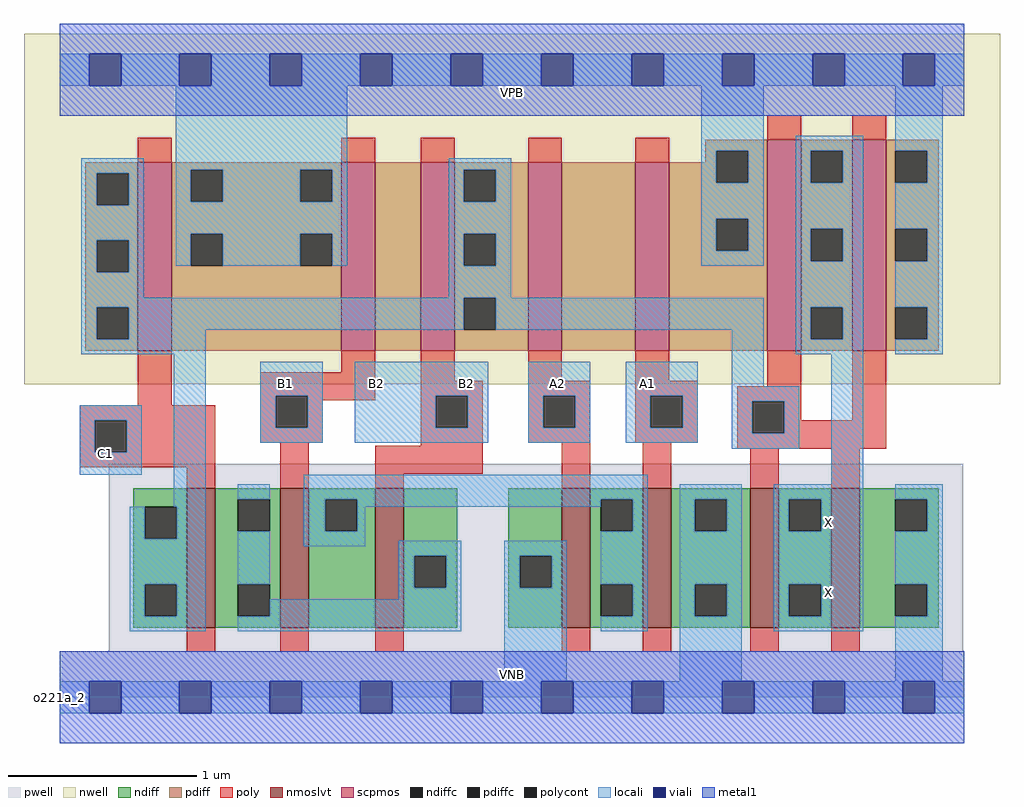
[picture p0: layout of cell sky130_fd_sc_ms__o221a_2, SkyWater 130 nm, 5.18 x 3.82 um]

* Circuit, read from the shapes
.subckt sky130_fd_sc_ms__o221a_2 A1 A2 B1 B2 C1 VGND VNB VPB VPWR X
XM1 n1 C1 n2 VNB sky130_fd_pr__nfet_01v8_lvt w=0.74 l=0.15
XM2 n3 B1 n1 VNB sky130_fd_pr__nfet_01v8_lvt w=0.74 l=0.15
XM3 n1 B2 n3 VNB sky130_fd_pr__nfet_01v8_lvt w=0.74 l=0.15
XM4 n3 A2 VGND VNB sky130_fd_pr__nfet_01v8_lvt w=0.74 l=0.15
XM5 VGND A1 n3 VNB sky130_fd_pr__nfet_01v8_lvt w=0.74 l=0.15
XM6 X n2 VGND VNB sky130_fd_pr__nfet_01v8_lvt w=0.74 l=0.15 m=2
XM7 VPWR C1 n2 VPB sky130_fd_pr__pfet_01v8 w=1 l=0.18
XM8 n4 B1 VPWR VPB sky130_fd_pr__pfet_01v8 w=1 l=0.18
XM9 n2 B2 n4 VPB sky130_fd_pr__pfet_01v8 w=1 l=0.18
XM10 n5 A2 n2 VPB sky130_fd_pr__pfet_01v8 w=1 l=0.18
XM11 VPWR A1 n5 VPB sky130_fd_pr__pfet_01v8 w=1 l=0.18
XM12 X n2 VPWR VPB sky130_fd_pr__pfet_01v8 w=1.12 l=0.18 m=2
.ends

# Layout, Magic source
magic
tech sky130A
magscale 1 2
<< nwell >>
rect -38 332 998 704
<< pwell >>
rect 52 49 959 248
rect 0 0 960 49
<< scpmos >>
rect 83 368 119 568
rect 299 368 335 568
rect 383 368 419 568
rect 497 368 533 568
rect 611 368 647 568
rect 751 368 787 592
rect 841 368 877 592
<< nmoslvt >>
rect 135 74 165 222
rect 234 74 264 222
rect 335 74 365 222
rect 533 74 563 222
rect 619 74 649 222
rect 733 74 763 222
rect 819 74 849 222
<< ndiff >>
rect 78 202 135 222
rect 78 168 90 202
rect 124 168 135 202
rect 78 120 135 168
rect 78 86 90 120
rect 124 86 135 120
rect 78 74 135 86
rect 165 210 234 222
rect 165 176 189 210
rect 223 176 234 210
rect 165 120 234 176
rect 165 86 189 120
rect 223 86 234 120
rect 165 74 234 86
rect 264 210 335 222
rect 264 176 282 210
rect 316 176 335 210
rect 264 74 335 176
rect 365 150 422 222
rect 365 116 376 150
rect 410 116 422 150
rect 365 74 422 116
rect 476 150 533 222
rect 476 116 488 150
rect 522 116 533 150
rect 476 74 533 116
rect 563 210 619 222
rect 563 176 574 210
rect 608 176 619 210
rect 563 120 619 176
rect 563 86 574 120
rect 608 86 619 120
rect 563 74 619 86
rect 649 210 733 222
rect 649 176 674 210
rect 708 176 733 210
rect 649 120 733 176
rect 649 86 674 120
rect 708 86 733 120
rect 649 74 733 86
rect 763 210 819 222
rect 763 176 774 210
rect 808 176 819 210
rect 763 120 819 176
rect 763 86 774 120
rect 808 86 819 120
rect 763 74 819 86
rect 849 210 933 222
rect 849 176 887 210
rect 921 176 933 210
rect 849 120 933 176
rect 849 86 887 120
rect 921 86 933 120
rect 849 74 933 86
<< pdiff >>
rect 685 580 751 592
rect 685 568 697 580
rect 27 556 83 568
rect 27 522 39 556
rect 73 522 83 556
rect 27 485 83 522
rect 27 451 39 485
rect 73 451 83 485
rect 27 414 83 451
rect 27 380 39 414
rect 73 380 83 414
rect 27 368 83 380
rect 119 560 299 568
rect 119 526 139 560
rect 173 526 255 560
rect 289 526 299 560
rect 119 492 299 526
rect 119 458 139 492
rect 173 458 255 492
rect 289 458 299 492
rect 119 368 299 458
rect 335 368 383 568
rect 419 560 497 568
rect 419 526 429 560
rect 463 526 497 560
rect 419 492 497 526
rect 419 458 429 492
rect 463 458 497 492
rect 419 424 497 458
rect 419 390 429 424
rect 463 390 497 424
rect 419 368 497 390
rect 533 368 611 568
rect 647 546 697 568
rect 731 546 751 580
rect 647 508 751 546
rect 647 474 697 508
rect 731 474 751 508
rect 647 368 751 474
rect 787 580 841 592
rect 787 546 797 580
rect 831 546 841 580
rect 787 497 841 546
rect 787 463 797 497
rect 831 463 841 497
rect 787 414 841 463
rect 787 380 797 414
rect 831 380 841 414
rect 787 368 841 380
rect 877 580 933 592
rect 877 546 887 580
rect 921 546 933 580
rect 877 497 933 546
rect 877 463 887 497
rect 921 463 933 497
rect 877 414 933 463
rect 877 380 887 414
rect 921 380 933 414
rect 877 368 933 380
<< ndiffc >>
rect 90 168 124 202
rect 90 86 124 120
rect 189 176 223 210
rect 189 86 223 120
rect 282 176 316 210
rect 376 116 410 150
rect 488 116 522 150
rect 574 176 608 210
rect 574 86 608 120
rect 674 176 708 210
rect 674 86 708 120
rect 774 176 808 210
rect 774 86 808 120
rect 887 176 921 210
rect 887 86 921 120
<< pdiffc >>
rect 39 522 73 556
rect 39 451 73 485
rect 39 380 73 414
rect 139 526 173 560
rect 255 526 289 560
rect 139 458 173 492
rect 255 458 289 492
rect 429 526 463 560
rect 429 458 463 492
rect 429 390 463 424
rect 697 546 731 580
rect 697 474 731 508
rect 797 546 831 580
rect 797 463 831 497
rect 797 380 831 414
rect 887 546 921 580
rect 887 463 921 497
rect 887 380 921 414
<< poly >>
rect 83 568 119 594
rect 299 568 335 594
rect 383 568 419 594
rect 497 568 533 594
rect 611 568 647 594
rect 751 592 787 618
rect 841 592 877 618
rect 83 310 119 368
rect 299 345 335 368
rect 213 320 335 345
rect 21 294 165 310
rect 21 260 37 294
rect 71 260 165 294
rect 213 286 229 320
rect 263 315 335 320
rect 383 336 419 368
rect 497 336 533 368
rect 611 336 647 368
rect 383 320 449 336
rect 263 286 279 315
rect 213 270 279 286
rect 383 286 399 320
rect 433 286 449 320
rect 21 244 165 260
rect 135 222 165 244
rect 234 222 264 270
rect 383 267 449 286
rect 497 320 563 336
rect 497 286 513 320
rect 547 286 563 320
rect 497 270 563 286
rect 611 320 677 336
rect 751 330 787 368
rect 611 286 627 320
rect 661 286 677 320
rect 611 270 677 286
rect 719 314 787 330
rect 719 280 735 314
rect 769 294 787 314
rect 841 294 877 368
rect 769 280 877 294
rect 335 237 449 267
rect 335 222 365 237
rect 533 222 563 270
rect 619 222 649 270
rect 719 264 877 280
rect 733 222 763 264
rect 819 222 849 264
rect 135 48 165 74
rect 234 48 264 74
rect 335 48 365 74
rect 533 48 563 74
rect 619 48 649 74
rect 733 48 763 74
rect 819 48 849 74
<< polycont >>
rect 37 260 71 294
rect 229 286 263 320
rect 399 286 433 320
rect 513 286 547 320
rect 627 286 661 320
rect 735 280 769 314
<< locali >>
rect 0 649 31 683
rect 65 649 127 683
rect 161 649 223 683
rect 257 649 319 683
rect 353 649 415 683
rect 449 649 511 683
rect 545 649 607 683
rect 641 649 703 683
rect 737 649 799 683
rect 833 649 895 683
rect 929 649 960 683
rect 23 556 89 572
rect 23 522 39 556
rect 73 522 89 556
rect 23 485 89 522
rect 23 451 39 485
rect 73 451 89 485
rect 123 560 305 649
rect 681 580 747 649
rect 123 526 139 560
rect 173 526 255 560
rect 289 526 305 560
rect 123 492 305 526
rect 123 458 139 492
rect 173 458 255 492
rect 289 458 305 492
rect 413 560 479 572
rect 413 526 429 560
rect 463 526 479 560
rect 413 492 479 526
rect 413 458 429 492
rect 463 458 479 492
rect 681 546 697 580
rect 731 546 747 580
rect 681 508 747 546
rect 681 474 697 508
rect 731 474 747 508
rect 681 458 747 474
rect 781 580 853 596
rect 781 546 797 580
rect 831 546 853 580
rect 781 497 853 546
rect 781 463 797 497
rect 831 463 853 497
rect 23 424 89 451
rect 413 424 479 458
rect 23 414 429 424
rect 23 380 39 414
rect 73 390 429 414
rect 463 390 747 424
rect 73 380 155 390
rect 23 364 155 380
rect 21 294 87 310
rect 21 260 37 294
rect 71 260 87 294
rect 21 236 87 260
rect 121 202 155 364
rect 213 320 279 356
rect 213 286 229 320
rect 263 286 279 320
rect 213 270 279 286
rect 313 320 455 356
rect 313 286 399 320
rect 433 286 455 320
rect 313 270 455 286
rect 497 320 563 356
rect 497 286 513 320
rect 547 286 563 320
rect 497 270 563 286
rect 601 320 677 356
rect 601 286 627 320
rect 661 286 677 320
rect 601 270 677 286
rect 713 330 747 390
rect 781 414 853 463
rect 781 380 797 414
rect 831 380 853 414
rect 781 364 853 380
rect 887 580 937 649
rect 921 546 937 580
rect 887 497 937 546
rect 921 463 937 497
rect 887 414 937 463
rect 921 380 937 414
rect 887 364 937 380
rect 713 314 785 330
rect 713 280 735 314
rect 769 280 785 314
rect 713 264 785 280
rect 74 168 90 202
rect 124 168 155 202
rect 74 120 155 168
rect 74 86 90 120
rect 124 86 155 120
rect 74 70 155 86
rect 189 210 223 226
rect 189 120 223 176
rect 259 210 624 236
rect 819 226 853 364
rect 259 176 282 210
rect 316 202 574 210
rect 316 176 324 202
rect 259 160 324 176
rect 608 176 624 210
rect 360 150 426 166
rect 360 116 376 150
rect 410 116 426 150
rect 360 104 426 116
rect 223 86 426 104
rect 189 70 426 86
rect 472 150 538 166
rect 472 116 488 150
rect 522 116 538 150
rect 472 17 538 116
rect 574 120 624 176
rect 608 86 624 120
rect 574 70 624 86
rect 658 210 724 226
rect 658 176 674 210
rect 708 176 724 210
rect 658 120 724 176
rect 658 86 674 120
rect 708 86 724 120
rect 658 17 724 86
rect 758 210 853 226
rect 758 176 774 210
rect 808 176 853 210
rect 758 120 853 176
rect 758 86 774 120
rect 808 86 853 120
rect 758 70 853 86
rect 887 210 937 226
rect 921 176 937 210
rect 887 120 937 176
rect 921 86 937 120
rect 887 17 937 86
rect 0 -17 31 17
rect 65 -17 127 17
rect 161 -17 223 17
rect 257 -17 319 17
rect 353 -17 415 17
rect 449 -17 511 17
rect 545 -17 607 17
rect 641 -17 703 17
rect 737 -17 799 17
rect 833 -17 895 17
rect 929 -17 960 17
<< viali >>
rect 31 649 65 683
rect 127 649 161 683
rect 223 649 257 683
rect 319 649 353 683
rect 415 649 449 683
rect 511 649 545 683
rect 607 649 641 683
rect 703 649 737 683
rect 799 649 833 683
rect 895 649 929 683
rect 31 -17 65 17
rect 127 -17 161 17
rect 223 -17 257 17
rect 319 -17 353 17
rect 415 -17 449 17
rect 511 -17 545 17
rect 607 -17 641 17
rect 703 -17 737 17
rect 799 -17 833 17
rect 895 -17 929 17
<< metal1 >>
rect 0 683 960 715
rect 0 649 31 683
rect 65 649 127 683
rect 161 649 223 683
rect 257 649 319 683
rect 353 649 415 683
rect 449 649 511 683
rect 545 649 607 683
rect 641 649 703 683
rect 737 649 799 683
rect 833 649 895 683
rect 929 649 960 683
rect 0 617 960 649
rect 0 17 960 49
rect 0 -17 31 17
rect 65 -17 127 17
rect 161 -17 223 17
rect 257 -17 319 17
rect 353 -17 415 17
rect 449 -17 511 17
rect 545 -17 607 17
rect 641 -17 703 17
rect 737 -17 799 17
rect 833 -17 895 17
rect 929 -17 960 17
rect 0 -49 960 -17
<< labels >>
flabel pwell s 0 0 960 49 0 FreeSans 200 0 0 0 VNB
port 7 nsew ground bidirectional
flabel nwell s 0 617 960 666 0 FreeSans 200 0 0 0 VPB
port 8 nsew power bidirectional
rlabel comment s 0 0 0 0 4 o221a_2
flabel metal1 s 0 617 960 666 0 FreeSans 340 0 0 0 VPWR
port 9 nsew power bidirectional
flabel metal1 s 0 0 960 49 0 FreeSans 340 0 0 0 VGND
port 6 nsew ground bidirectional
flabel locali s 607 316 641 350 0 FreeSans 340 0 0 0 A1
port 1 nsew signal input
flabel locali s 511 316 545 350 0 FreeSans 340 0 0 0 A2
port 2 nsew signal input
flabel locali s 319 316 353 350 0 FreeSans 340 0 0 0 B2
port 4 nsew signal input
flabel locali s 415 316 449 350 0 FreeSans 340 0 0 0 B2
port 4 nsew signal input
flabel locali s 31 242 65 276 0 FreeSans 340 0 0 0 C1
port 5 nsew signal input
flabel locali s 799 94 833 128 0 FreeSans 340 0 0 0 X
port 10 nsew signal output
flabel locali s 799 168 833 202 0 FreeSans 340 0 0 0 X
port 10 nsew signal output
flabel locali s 223 316 257 350 0 FreeSans 340 0 0 0 B1
port 3 nsew signal input
<< properties >>
string LEFsite unit
string LEFclass CORE
string FIXED_BBOX 0 0 960 666
string GDS_FILE $PDKPATH/libs.ref/sky130_fd_sc_ms/gds/sky130_fd_sc_ms.gds
string LEFsymmetry X Y
string GDS_END 2777830
string GDS_START 2769720
<< end >>
